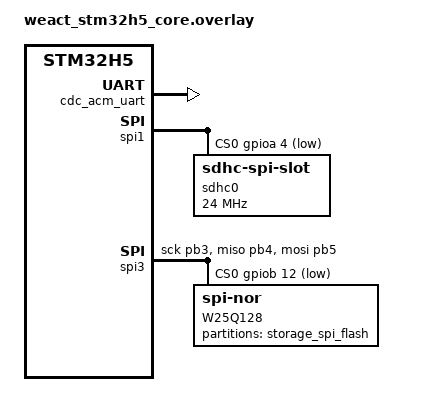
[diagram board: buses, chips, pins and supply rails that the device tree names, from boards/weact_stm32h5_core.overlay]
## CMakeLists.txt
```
cmake_minimum_required(VERSION 3.20.0)

find_package(Zephyr)
project(zsd)

target_sources(app PRIVATE src/main.c)
```

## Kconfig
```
# Zephyr storage medium demo

mainmenu "Zephyr storage demo application"

# Storage medium configuration
choice STORAGE_MEDIUM
    prompt "Storage medium configuration"

config STORAGE_MEDIUM_SD_CARD
    bool "SD card"

config STORAGE_MEDIUM_NOR_FLASH
    bool "NOR flash memory"

endchoice # STORAGE_MEDIUM


source "Kconfig.zephyr"
```

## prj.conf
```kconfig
# 
# This file is part of the efc project <https://github.com/eurus-project/efc/>.
# Copyright (c) 2024 The efc developers.
# 
# This program is free software: you can redistribute it and/or modify
# it under the terms of the GNU General Public License as published by
# the Free Software Foundation, version 3.
# 
# This program is distributed in the hope that it will be useful, but
# WITHOUT ANY WARRANTY; without even the implied warranty of
# MERCHANTABILITY or FITNESS FOR A PARTICULAR PURPOSE. See the GNU
# General Public License for more details.
# 
# You should have received a copy of the GNU General Public License
# along with this program. If not, see <http://www.gnu.org/licenses/>.
#

CONFIG_GPIO=y
CONFIG_SERIAL=y
CONFIG_CONSOLE=y
CONFIG_USB_DEVICE_STACK=y

CONFIG_DEBUG=y

CONFIG_STM32_FLASH_PREFETCH=y
CONFIG_FPU=y
CONFIG_SPI=y
CONFIG_SPI_STM32=y

CONFIG_DISK_ACCESS=y
CONFIG_DISK_DRIVERS=y
CONFIG_DISK_DRIVER_SDMMC=y

CONFIG_FILE_SYSTEM=y
CONFIG_FILE_SYSTEM_SHELL=y
CONFIG_FILE_SYSTEM_LITTLEFS=y

CONFIG_FS_LITTLEFS_BLK_DEV=y
CONFIG_FS_LITTLEFS_FMP_DEV=n
CONFIG_FS_LITTLEFS_FC_HEAP_SIZE=8192
CONFIG_FS_LITTLEFS_READ_SIZE=512
CONFIG_FS_LITTLEFS_PROG_SIZE=512
CONFIG_FS_LITTLEFS_CACHE_SIZE=512
CONFIG_FS_LITTLEFS_LOOKAHEAD_SIZE=2048
CONFIG_FS_LITTLEFS_BLOCK_CYCLES=-1

CONFIG_MAIN_STACK_SIZE=4096

CONFIG_LOG=y
CONFIG_DEBUG_COREDUMP=y
CONFIG_DEBUG_COREDUMP_BACKEND_LOGGING=y

CONFIG_CBPRINTF_FP_SUPPORT=y

CONFIG_INPUT=y

CONFIG_SHELL=y
CONFIG_SHELL_LOG_BACKEND=y

CONFIG_USB_DEVICE_STACK_NEXT=n
```

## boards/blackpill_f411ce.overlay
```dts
/ {
	chosen {
		zephyr,console = &cdc_acm_uart;
		zephyr,shell-uart = &cdc_acm_uart;
	};
};

&zephyr_udc0 {
	cdc_acm_uart: cdc_acm_uart0 {
		compatible = "zephyr,cdc-acm-uart";
	};
};

&spi1 {
    cs-gpios = <&gpioa 4 GPIO_ACTIVE_LOW>;

	sdhc0: sdhc@0 {
                compatible = "zephyr,sdhc-spi-slot";
                reg = <0>;
                status = "okay";
                mmc {
                    compatible = "zephyr,sdmmc-disk";
                    disk-name = "DEMO_MOUNT_POINT";
                    status = "okay";
                };
                spi-max-frequency = <24000000>;
        };
};
```

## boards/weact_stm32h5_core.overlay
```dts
/ {
	chosen {
		zephyr,console = &cdc_acm_uart;
        zephyr,shell-uart = &cdc_acm_uart;
	};
};

&pll {
	div-q = <6>;
};

&clk_hsi48 {
    status = "okay";
};

&zephyr_udc0 {
	cdc_acm_uart: cdc_acm_uart0 {
		compatible = "zephyr,cdc-acm-uart";
	};
};

&spi1 {
    status = "okay";
    cs-gpios = <&gpioa 4 GPIO_ACTIVE_LOW>;

	sdhc0: sdhc@0 {
                compatible = "zephyr,sdhc-spi-slot";
                reg = <0>;
                status = "okay";
                mmc {
                    compatible = "zephyr,sdmmc-disk";
                    disk-name = "SD_SPI";
                    status = "okay";
                };
                spi-max-frequency = <24000000>;
        };
};

&spi3 {
    status = "okay";
    pinctrl-0 = <&spi3_sck_pb3 &spi3_miso_pb4 &spi3_mosi_pb5>;
    pinctrl-names = "default";
    cs-gpios = <&gpiob 12 (GPIO_ACTIVE_LOW | GPIO_PULL_UP)>;

    spiflash: spiflash@0 {
        compatible = "jedec,spi-nor";
        status = "okay";
        reg = <0>;
        label = "W25Q128";
        spi-max-frequency = <1000000U>;
        jedec-id = [ef 40 18];
        size = <0x1000000>;
        /* Optionally, set the deep power down mode */
        // has-dpd;
        // t-enter-dpd = <10000>;
        // t-exit-dpd = <35000>;
    };
};

&spiflash {
    partitions {
        compatible = "fixed-partitions";
        #address-cells = <1>;
        #size-cells = <1>;

        lfs_partition: partition@0 {
            label = "storage_spi_flash";
            reg = <0x00000000 0x01000000>;  // 16MB
        };
    };
};
```

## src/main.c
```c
#include <math.h>
#include <stdio.h>
#include <zephyr/device.h>
#include <zephyr/drivers/gpio.h>
#include <zephyr/fs/fs.h>
#include <zephyr/fs/littlefs.h>
#include <zephyr/kernel.h>
#include <zephyr/logging/log.h>
#include <zephyr/usb/usb_device.h>
#include <zephyr/usb/usbd.h>

LOG_MODULE_REGISTER(main, LOG_LEVEL_INF);

static struct fs_littlefs main_fs;

struct fs_mount_t main_fs_mount = {
    .type = FS_LITTLEFS,
    .fs_data = &main_fs,
#ifdef CONFIG_STORAGE_MEDIUM_SD_CARD
    .flags = FS_MOUNT_FLAG_USE_DISK_ACCESS,
    .storage_dev = "SD_SPI",
#elif CONFIG_STORAGE_MEDIUM_NOR_FLASH
    .storage_dev = (void *)FIXED_PARTITION_ID(lfs_partition),
#endif
    .mnt_point = "/DEMO_MOUNT_POINT:",
};

int32_t boot_count = -1;

static int update_boot_count(void) {
    struct fs_file_t boot_count_file;
    fs_file_t_init(&boot_count_file);

    char filename[LFS_NAME_MAX];
    snprintf(filename, sizeof(filename), "%s/boot_count",
             main_fs_mount.mnt_point);
    int ret = fs_open(&boot_count_file, filename, FS_O_RDWR | FS_O_CREATE);
    if (ret < 0) {
        LOG_ERR("Could not open file!\n");
        return ret;
    }

    ret = fs_read(&boot_count_file, &boot_count, sizeof(boot_count));
    if (ret < 0) {
        LOG_ERR("Could not read from file!\n");
        return ret;
    }

    LOG_INF("Boot count: %d\n", (int)boot_count);

    ret = fs_seek(&boot_count_file, 0, FS_SEEK_SET);
    if (ret < 0) {
        LOG_ERR("Could not seek to beggining of the file!\n");
        return ret;
    }

    boot_count += 1;
    ret = fs_write(&boot_count_file, &boot_count, sizeof(boot_count));
    if (ret < 0) {
        LOG_ERR("Could not write to file!\n");
        return ret;
    }

    ret = fs_close(&boot_count_file);
    if (ret < 0) {
        LOG_ERR("Could not close file!\n");
        return ret;
    }

    return 0;
}

#if defined(CONFIG_USB_DEVICE_STACK_NEXT)
static struct usbd_context *sample_usbd;

static int enable_usb_device_next(void) {
    int err;

    sample_usbd = sample_usbd_init_device(NULL);
    if (sample_usbd == NULL) {
        return -ENODEV;
    }

    err = usbd_enable(sample_usbd);
    if (err) {
        return err;
    }

    return 0;
}
#endif /* defined(CONFIG_USB_DEVICE_STACK_NEXT) */

int main(void) {
    if (DT_NODE_HAS_COMPAT(DT_CHOSEN(zephyr_console), zephyr_cdc_acm_uart)) {
#if defined(CONFIG_USB_DEVICE_STACK_NEXT)
        if (enable_usb_device_next()) {
            return 0;
        }
#else
        if (usb_enable(NULL)) {
            return 0;
        }
#endif
    }

#ifdef CONFIG_STORAGE_MEDIUM_SD_CARD
    const struct device *storage_device = DEVICE_DT_GET(DT_NODELABEL(sdhc0));
#elif CONFIG_STORAGE_MEDIUM_NOR_FLASH
    const struct device *storage_device = DEVICE_DT_GET(DT_NODELABEL(spiflash));
#endif

    if (!device_is_ready(storage_device)) {
        LOG_ERR("Storage device not ready");
        return;
    }

    int ret = fs_mount(&main_fs_mount);
    if (ret < 0) {
        LOG_ERR("Could not mount filesystem!\n");
    }

    ret = update_boot_count();
    if (ret < 0) {
        LOG_ERR("Could not update boot count!");
    }
}
```
